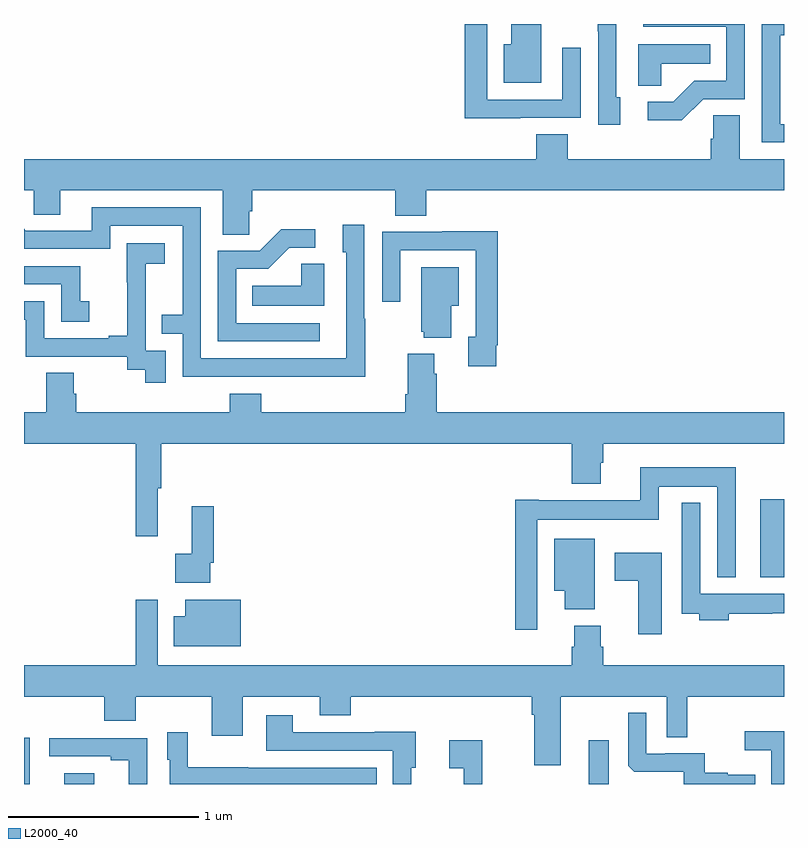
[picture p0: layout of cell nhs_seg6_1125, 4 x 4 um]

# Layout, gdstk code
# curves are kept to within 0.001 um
import gdstk
lib = gdstk.Library(unit=1e-6, precision=1e-09)
def R(c, l, rs):  # rectangles x0, y0, x1, y1
    for r in rs: c.add(gdstk.rectangle(r[:2], r[2:], *l))
def P(c, l, *ps):  # polygons
    for p in ps: c.add(gdstk.Polygon(p, *l))
L2000_40 = (2000, 40)

nhs_seg6_1125 = lib.new_cell('nhs_seg6_1125')
R(nhs_seg6_1125, L2000_40, [(179,989.5,179.031,989.744), (179.213,989.5,179.371,989.557), (181.973,989.5,182.077,989.731), (182.876,990.588,183,990.999)])
P(nhs_seg6_1125, L2000_40, [(183,992.973),(182.979,992.973),(182.979,993.442),(183,993.442),(183,993.5),(182.883,993.5),(182.883,992.877),(183,992.877)],
  [(182.137,993.114),(182.118,993.114),(182.118,993.5),(182.02,993.5),(182.02,993.463),(182.022,993.463),(182.022,992.97),(182.137,992.97)],
  [(181.613,993.006),(181.929,993.006),(181.929,993.376),(181.833,993.376),(181.833,993.102),(181.437,993.102),(181.437,993.5),(181.321,993.5),(181.321,993.005),(181.613,993.005)],
  [(182.574,993.105),(182.793,993.105),(182.793,993.5),(182.259,993.5),(182.259,993.486),(182.697,993.486),(182.697,993.201),(182.528,993.201),(182.417,993.09),(182.283,993.09),(182.283,992.993),(182.461,992.993)],
  [(181.723,993.5),(181.565,993.5),(181.565,993.394),(181.526,993.394),(181.526,993.191),(181.723,993.191)],
  [(182.355,993.29),(182.612,993.29),(182.612,993.394),(182.234,993.394),(182.234,993.175),(182.355,993.175)],
  [(180.186,992.515),(180.2,992.515),(180.2,992.624),(180.953,992.624),(180.953,992.491),(181.118,992.491),(181.118,992.624),(183,992.624),(183,992.788),(182.767,992.788),(182.767,993.02),(182.628,993.02),(182.628,992.897),(182.615,992.897),(182.615,992.788),(181.862,992.788),(181.862,992.921),(181.697,992.921),(181.697,992.788),(179,992.788),(179,992.624),(179.052,992.624),(179.052,992.497),(179.191,992.497),(179.191,992.624),(180.047,992.624),(180.047,992.392),(180.186,992.392)],
  [(180.795,991.949),(180.792,991.949),(180.792,992.443),(180.677,992.443),(180.677,992.298),(180.696,992.298),(180.696,991.74),(179.931,991.74),(179.931,992.535),(179.357,992.535),(179.357,992.412),(179.01,992.412),(179,992.422),(179,992.316),(179.454,992.316),(179.454,992.439),(179.835,992.439),(179.835,991.97),(179.725,991.97),(179.725,991.869),(179.835,991.869),(179.835,991.644),(180.795,991.643)],
  [(180.556,991.926),(180.117,991.926),(180.117,992.211),(180.286,992.211),(180.397,992.322),(180.532,992.322),(180.532,992.42),(180.353,992.42),(180.24,992.307),(180.021,992.307),(180.021,991.83),(180.556,991.83)],
  [(181.486,991.81),(181.493,991.81),(181.493,992.408),(181.201,992.408),(181.201,992.406),(180.885,992.406),(180.885,992.037),(180.981,992.037),(180.981,992.31),(181.377,992.31),(181.377,991.854),(181.337,991.854),(181.337,991.698),(181.486,991.698)],
  [(179.745,991.779),(179.64,991.779),(179.64,992.009),(179.642,992.009),(179.642,992.237),(179.74,992.237),(179.74,992.347),(179.542,992.347),(179.542,992.141),(179.543,992.141),(179.543,991.858),(179.447,991.858),(179.447,991.845),(179.106,991.845),(179.106,992.04),(179,992.04),(179,991.944),(179.01,991.944),(179.01,991.749),(179.544,991.749),(179.544,991.681),(179.637,991.681),(179.637,991.611),(179.745,991.611)],
  [(180.58,992.237),(180.459,992.237),(180.459,992.122),(180.202,992.122),(180.202,992.018),(180.58,992.018)],
  [(179.344,992.041),(179.295,992.041),(179.295,992.226),(179,992.226),(179,992.13),(179.196,992.13),(179.196,991.932),(179.344,991.932)],
  [(181.249,992.018),(181.288,992.018),(181.288,992.221),(181.091,992.221),(181.091,991.881),(181.103,991.881),(181.103,991.85),(181.249,991.85)],
  [(179.705,991.056),(179.723,991.056),(179.723,991.292),(181.883,991.292),(181.883,991.079),(182.035,991.079),(182.035,991.191),(182.048,991.191),(182.048,991.292),(183,991.292),(183,991.456),(181.172,991.456),(181.172,991.658),(181.159,991.658),(181.159,991.765),(181.019,991.765),(181.019,991.552),(181.007,991.552),(181.007,991.456),(180.248,991.456),(180.248,991.555),(180.083,991.555),(180.083,991.456),(179.276,991.456),(179.276,991.554),(179.263,991.554),(179.263,991.664),(179.116,991.664),(179.116,991.456),(179,991.456),(179,991.292),(179.587,991.292),(179.587,990.804),(179.705,990.804)],
  [(181.701,990.89),(182.34,990.89),(182.34,991.064),(182.649,991.064),(182.649,990.587),(182.746,990.587),(182.746,991.168),(182.243,991.168),(182.243,990.994),(181.708,990.994),(181.708,990.997),(181.585,990.997),(181.585,990.312),(181.701,990.312)],
  [(182.708,990.396),(182.939,990.396),(182.939,990.398),(183,990.398),(183,990.502),(182.559,990.502),(182.559,990.979),(182.463,990.979),(182.463,990.396),(182.555,990.396),(182.555,990.362),(182.708,990.362)],
  [(179.979,990.664),(179.999,990.664),(179.999,990.961),(179.882,990.961),(179.882,990.713),(179.796,990.713),(179.796,990.56),(179.979,990.56)],
  [(182.005,990.79),(181.79,990.79),(181.79,990.518),(181.847,990.518),(181.847,990.419),(182.005,990.419)],
  [(182.356,990.718),(182.109,990.718),(182.109,990.571),(182.234,990.571),(182.234,990.288),(182.356,990.288)],
  [(180.142,990.469),(179.849,990.469),(179.849,990.382),(179.788,990.382),(179.788,990.224),(180.142,990.224)],
  [(181.825,989.96),(182.382,989.96),(182.382,989.746),(182.491,989.746),(182.491,989.96),(183,989.96),(183,990.124),(182.048,990.124),(182.048,990.222),(182.035,990.222),(182.035,990.334),(181.895,990.334),(181.895,990.222),(181.883,990.222),(181.883,990.124),(179.703,990.124),(179.703,990.469),(179.587,990.469),(179.587,990.124),(179,990.124),(179,989.96),(179.423,989.96),(179.423,989.832),(179.587,989.832),(179.587,989.96),(179.987,989.96),(179.987,989.754),(180.151,989.754),(180.151,989.96),(180.557,989.96),(180.557,989.861),(180.721,989.861),(180.721,989.96),(181.673,989.96),(181.673,989.864),(181.685,989.864),(181.685,989.598),(181.825,989.598)],
  [(182.849,989.548),(182.705,989.548),(182.705,989.56),(182.582,989.56),(182.582,989.661),(182.374,989.661),(182.374,989.658),(182.274,989.658),(182.274,989.875),(182.181,989.875),(182.181,989.595),(182.213,989.564),(182.472,989.564),(182.472,989.5),(182.849,989.5)],
  [(181.038,989.586),(181.063,989.586),(181.063,989.774),(180.845,989.774),(180.845,989.772),(180.415,989.772),(180.415,989.863),(180.275,989.863),(180.275,989.676),(180.942,989.676),(180.942,989.5),(181.038,989.5)],
  [(183,989.777),(182.793,989.777),(182.793,989.678),(182.934,989.678),(182.934,989.5),(183,989.5)],
  [(180.857,989.586),(180.179,989.586),(180.179,989.587),(179.862,989.587),(179.862,989.773),(179.753,989.773),(179.753,989.628),(179.766,989.628),(179.766,989.5),(180.857,989.5)],
  [(179.649,989.742),(179.133,989.742),(179.133,989.646),(179.456,989.646),(179.456,989.626),(179.552,989.626),(179.552,989.5),(179.649,989.5)],
  [(181.411,989.731),(181.239,989.731),(181.239,989.582),(181.314,989.582),(181.314,989.5),(181.411,989.5)])

lib.write_gds('nhs_seg6_1125.gds')
